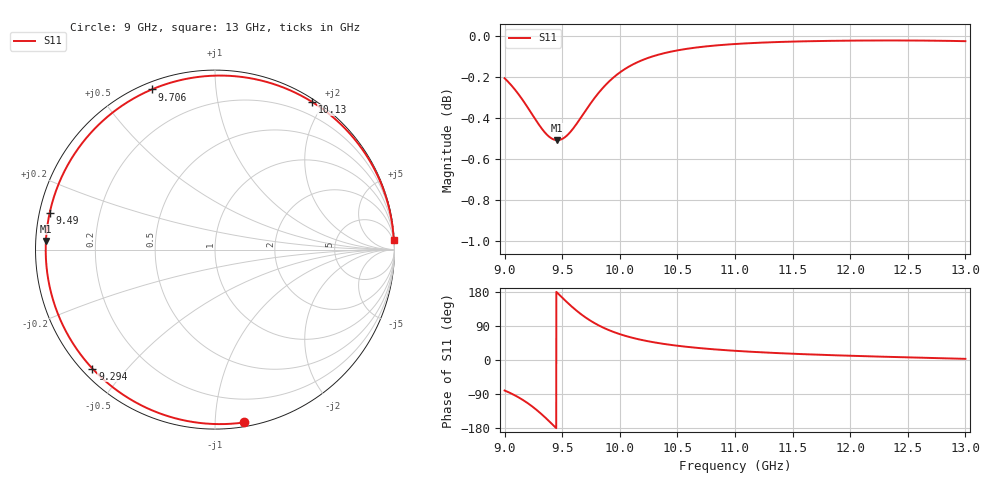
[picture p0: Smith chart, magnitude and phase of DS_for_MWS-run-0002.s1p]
! TOUCHSTONE file generated by CST DESIGN STUDIO
! Date and time: Wed Feb  5 13:20:38 2025
! Project name: C:\Work\MatlabApps\UnitCellOptimizationMatlab\CST\unitcell.cst
! Tree item: Tasks\Sweep1\SPara1\S-Parameters
! Header version: 2024
! Port assignment regex: !\s*Touchstone port\s*([0-9]+)\s*=\s*(CST MWS port|CST DES external port|CST DES block port)\s*(.+)\s* \(\"(.*)\"\)(\s*mode\s*([0-9]+))?.*
! Touchstone port assignment:
! Touchstone port 1 = CST DES external port 1 ("")
# GHz S MA R 50
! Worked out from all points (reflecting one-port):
!   4001 points, 9 GHz to 13 GHz, reference 50 ohm
!   lowest |S11| = -0.5 dB at 9.458 GHz (marker M1), VSWR 34.21, Z = 1.46 + j1.26 ohm
!   phase of S11 starts at -80 deg and turns -276 deg over the sweep
!   S11 on the Smith chart (normalised r, x): 9 GHz: 0.03, -1.18; 9.294 GHz: 0.03, -0.40; 9.49 GHz: 0.03, +0.11; 9.706 GHz: 0.03, +0.68; 10.13 GHz: 0.03, +1.85; 13 GHz: 2, +37
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9  0.9765 -80.5
9.091  0.9702 -93.6
9.165  0.9639 -106.7
9.231  0.9577 -120.6
9.294  0.9518 -135.9
9.337  0.9482 -147.4
9.382  0.9453 -160.2
9.421  0.9437 -171.8
9.458  0.9432 177.1
9.49  0.9436 167.5
9.5  0.9439 164.6
9.549  0.9461 150.4
9.605  0.9502 135.2
9.655  0.9545 122.8
9.706  0.9592 111.6
9.763  0.9642 100.5
9.828  0.9694 89.6
9.912  0.975 78.0
10  0.9796 68.2
10.134  0.9847 56.8
10.299  0.9887 46.5
10.5  0.9918 37.6
10.722  0.9938 30.6
11  0.9953 24.2
11.5  0.9967 16.5
12  0.9972 11.2
12.5  0.9973 6.9
13  0.9969 3.1
